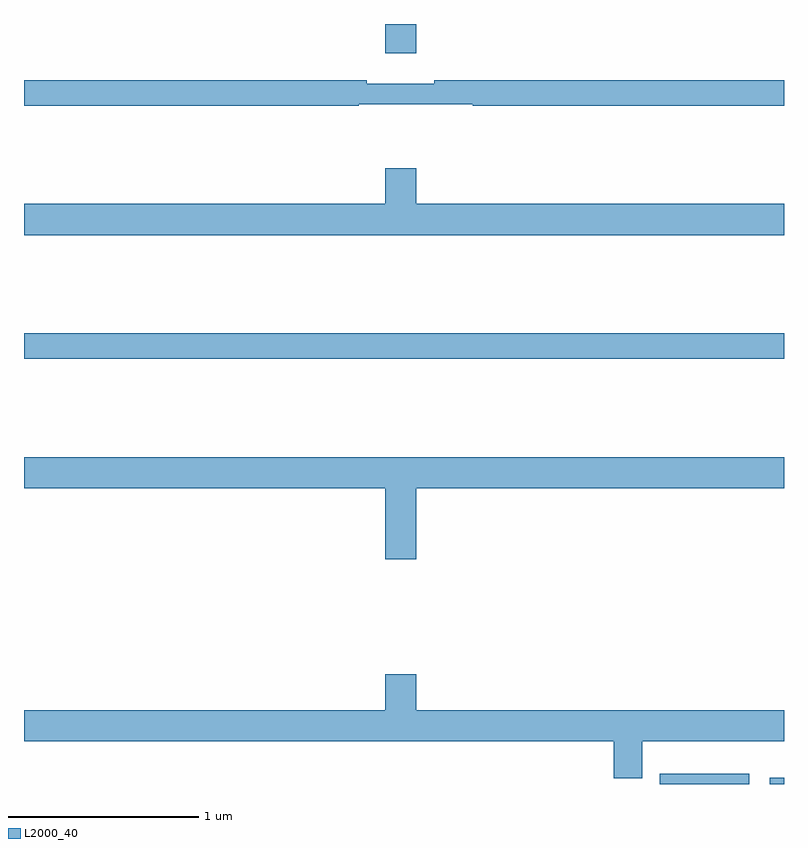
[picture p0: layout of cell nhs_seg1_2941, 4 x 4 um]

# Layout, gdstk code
import gdstk
lib = gdstk.Library(unit=1e-6, precision=1e-09)
def R(c, l, rs):  # rectangles x0, y0, x1, y1
    for r in rs: c.add(gdstk.rectangle(r[:2], r[2:], *l))
def P(c, l, *ps):  # polygons
    for p in ps: c.add(gdstk.Polygon(p, *l))
L2000_40 = (2000, 40)

nhs_seg1_2941 = lib.new_cell('nhs_seg1_2941')
R(nhs_seg1_2941, L2000_40, [(274.346,526.199,274.816,526.252), (274.925,526.199,275,526.231), (271,528.436,275,528.572), (272.9,530.046,273.064,530.199)])
P(nhs_seg1_2941, L2000_40, [(272.762,529.776),(273.362,529.776),(273.362,529.768),(275,529.768),(275,529.904),(273.16,529.904),(273.16,529.885),(272.804,529.885),(272.804,529.904),(271,529.904),(271,529.768),(272.762,529.768)],
  [(275,529.252),(273.064,529.252),(273.064,529.441),(272.9,529.441),(272.9,529.252),(271,529.252),(271,529.088),(275,529.088)],
  [(273.064,527.756),(275,527.756),(275,527.92),(271,527.92),(271,527.756),(272.9,527.756),(272.9,527.382),(273.064,527.382)],
  [(274.255,526.424),(275,526.424),(275,526.588),(273.064,526.588),(273.064,526.777),(272.9,526.777),(272.9,526.588),(271,526.588),(271,526.424),(274.103,526.424),(274.103,526.23),(274.255,526.23)])

lib.write_gds('nhs_seg1_2941.gds')
